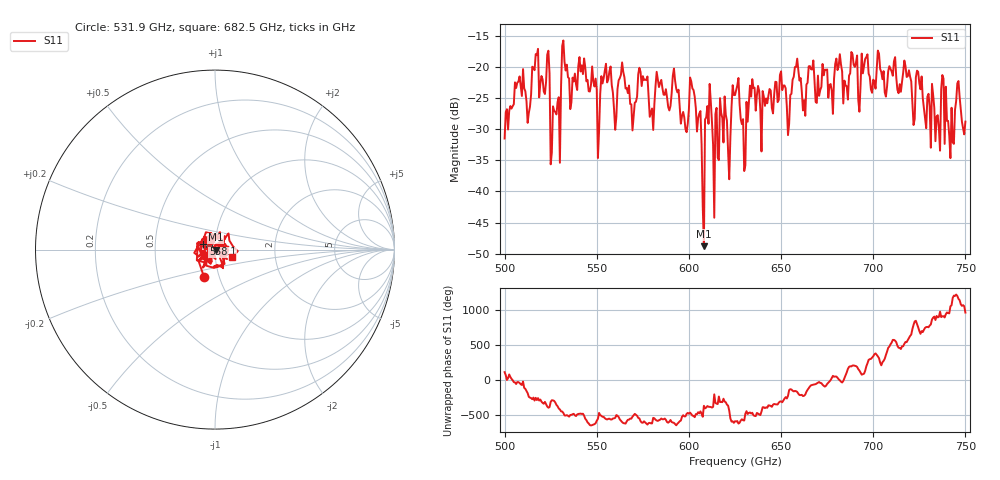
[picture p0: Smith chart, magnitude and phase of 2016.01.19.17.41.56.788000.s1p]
!Created with skrf (http://scikit-rf.org).
# GHz S RI R 50.0
!freq ReS11 ImS11
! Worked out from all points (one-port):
!   401 points, 500 GHz to 750 GHz, reference 50 ohm
!   lowest |S11| = -48.8 dB at 608.1 GHz (marker M1), VSWR 1.01, Z = 50.4 - j0.0592 ohm
!   |S11| at or under -10 dB: start of sweep to end of sweep
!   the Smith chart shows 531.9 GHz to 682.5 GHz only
!   S11 on the Smith chart (normalised r, x): 531.9 GHz: 0.85, -0.26; 558.1 GHz: 0.88, +0.05; 682.5 GHz: 1.21, -0.10
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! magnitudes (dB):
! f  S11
! 500 GHz  -31.5
! 506.9 GHz  -22.5
! 513.1 GHz  -27.4
! 516.9 GHz  -17.9
! 523.1 GHz  -18.0
! 526.2 GHz  -26.3
! 531.2 GHz  -16.6
! 531.9 GHz  -15.7
! 550.6 GHz  -34.6
! 558.1 GHz  -22.9
! 562.5 GHz  -21.8
! 569.4 GHz  -30.2
! 573.8 GHz  -20.8
! 580 GHz  -26.7
! 593.8 GHz  -24.1
! 598.1 GHz  -30.0
! 601.9 GHz  -23.4
! 608.1 GHz  -48.8
! 610.6 GHz  -29.1
! 615 GHz  -26.6
! 625 GHz  -24.5
! 629.4 GHz  -28.4
! 634.4 GHz  -21.9
! 656.2 GHz  -22.0
! 682.5 GHz  -19.6
! 687.5 GHz  -21.0
! 718.8 GHz  -21.5
! 750 GHz  -28.8
